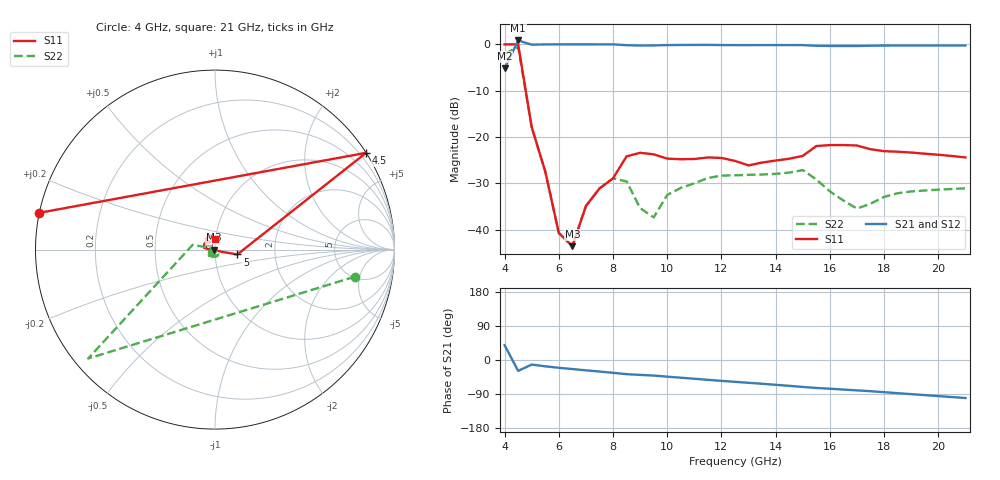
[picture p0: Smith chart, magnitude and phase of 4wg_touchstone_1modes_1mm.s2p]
! S-parameter export from POSTFEKO
! Filename: circular_10wg_5modes_V2
! Creation date: 2020-01-10 16:13:29
# Hz S MA R  5.0000000E+01
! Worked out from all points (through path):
!   35 points, 4 GHz to 21 GHz, reference 50 ohm
!   highest |S21| = 0.84 dB at 4.5 GHz (marker M1); lowest = -5.2 dB at 4 GHz (marker M2)
!   lowest |S11| = -43.6 dB at 6.5 GHz (marker M3), VSWR 1.01, Z = 49.3 - j0.0631 ohm
!   |S11| at or under -10 dB: 4.779 GHz to end of sweep
!   |S22| runs from -43.6 to -0.6 dB; largest |S21 - S12| = 1.8e-05
!   S11 on the Smith chart (normalised r, x): 4 GHz: 0.00, +0.10; 4.5 GHz: 0.00, +3.42; 5 GHz: 1.28, -0.07; 21 GHz: 0.99, +0.12
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4e9  1 168.2  0.5491 39.1  0.5491 39.1  0.7941 -10.9
4.5e9  1 32.6  1.102 -28.7  1.102 -28.7  0.9312 -139.3
5e9  0.1274 -12.3  0.9918 -12.1  0.9918 -12.1  0.1274 168.1
5.5e9  0.04236 -17.5  0.9991 -16.7  0.9991 -16.7  0.04236 164.2
6e9  0.009197 -36.1  1 -20.5  1 -20.5  0.0092 175.1
6.5e9  0.006624 -174.5  1 -23.9  1 -23.9  0.006622 -53.3
7e9  0.01796 174.1  0.9998 -27.2  0.9998 -27.2  0.01796 -48.6
7.5e9  0.02777 171.6  0.9996 -30.5  0.9996 -30.5  0.02777 -52.5
8e9  0.03578 176.0  0.9994 -33.8  0.9994 -33.8  0.03578 -63.6
8.5e9  0.06171 171.2  0.9791 -37.3  0.9791 -37.3  0.03312 -101.3
9e9  0.06749 153.2  0.9702 -39.3  0.9702 -39.3  0.01707 -101.4
9.5e9  0.06496 136.9  0.9735 -41.1  0.9735 -41.1  0.01354 -35.1
1e10  0.05838 136.5  0.9818 -43.9  0.9818 -43.9  0.02365 -46.0
1.15e10  0.06013 132.5  0.9867 -52.4  0.9867 -52.4  0.03605 -59.8
1.25e10  0.05515 123.3  0.9813 -57.6  0.9813 -57.6  0.03857 -76.7
1.3e10  0.04932 124.7  0.9807 -60.2  0.9807 -60.2  0.03898 -82.2
1.5e10  0.06248 135.1  0.9812 -71.1  0.9812 -71.1  0.04389 -111.1
1.55e10  0.07982 128.9  0.9645 -73.8  0.9645 -73.8  0.03477 -134.2
1.6e10  0.08168 119.7  0.9605 -75.8  0.9605 -75.8  0.02587 -135.3
1.7e10  0.08088 106.1  0.9599 -80.1  0.9599 -80.1  0.01687 -122.9
1.85e10  0.06934 97.3  0.9714 -87.6  0.9714 -87.6  0.02469 -109.0
2.1e10  0.06015 90.9  0.9716 -100.3  0.9716 -100.3  0.02788 -136.6
